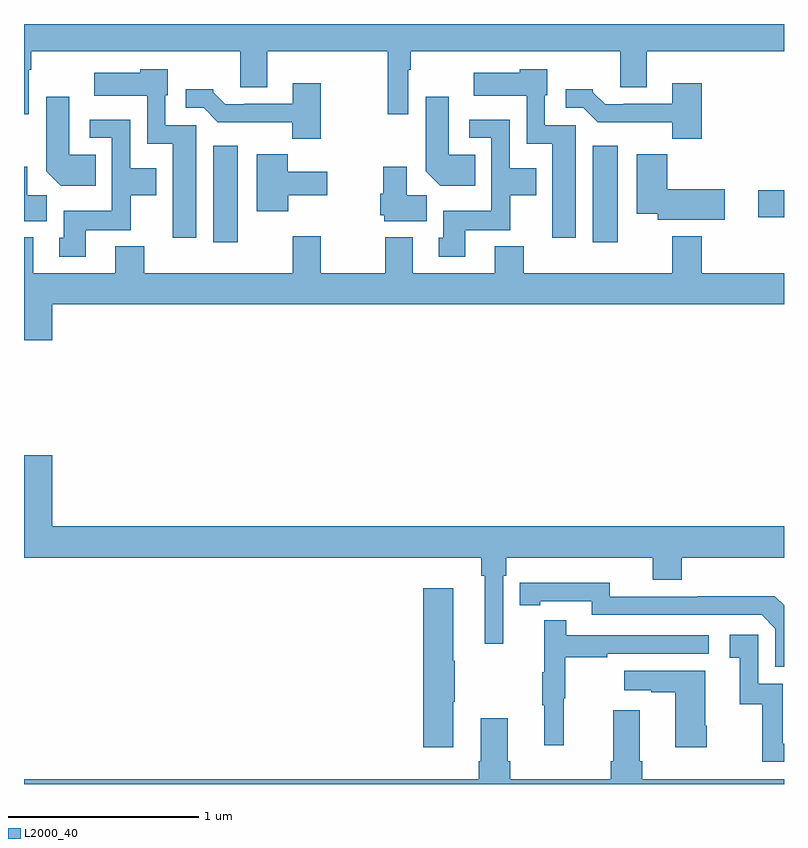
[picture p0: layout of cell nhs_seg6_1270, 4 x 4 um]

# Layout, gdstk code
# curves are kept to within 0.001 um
import gdstk
lib = gdstk.Library(unit=1e-6, precision=1e-09)
def R(c, l, rs):  # rectangles x0, y0, x1, y1
    for r in rs: c.add(gdstk.rectangle(r[:2], r[2:], *l))
def P(c, l, *ps):  # polygons
    for p in ps: c.add(gdstk.Polygon(p, *l))
L2000_40 = (2000, 40)

nhs_seg6_1270 = lib.new_cell('nhs_seg6_1270')
R(nhs_seg6_1270, L2000_40, [(189.995,926.352,190.126,926.86), (191.993,926.352,192.124,926.86), (192.864,926.482,193,926.624)])
P(nhs_seg6_1270, L2000_40, [(189.024,927.26),(189.037,927.26),(189.037,927.356),(190.139,927.356),(190.139,927.166),(190.279,927.166),(190.279,927.356),(190.914,927.356),(190.914,927.024),(191.022,927.024),(191.022,927.26),(191.035,927.26),(191.035,927.356),(192.137,927.356),(192.137,927.166),(192.277,927.166),(192.277,927.356),(193,927.356),(193,927.5),(189,927.5),(189,927.024),(189.024,927.024)],
  [(191.905,926.967),(191.742,926.967),(191.742,927.126),(191.755,927.126),(191.755,927.262),(191.61,927.262),(191.61,927.244),(191.367,927.244),(191.367,927.122),(191.646,927.122),(191.646,926.87),(191.78,926.87),(191.78,926.376),(191.905,926.376)],
  [(189.907,926.967),(189.744,926.967),(189.744,927.126),(189.757,927.126),(189.757,927.262),(189.612,927.262),(189.612,927.244),(189.369,927.244),(189.369,927.122),(189.648,927.122),(189.648,926.87),(189.782,926.87),(189.782,926.376),(189.907,926.376)],
  [(190.563,927.187),(190.415,927.187),(190.415,927.081),(190.159,927.081),(190.159,927.078),(190.06,927.078),(189.996,927.142),(189.996,927.157),(189.852,927.157),(189.852,927.06),(189.945,927.06),(190.021,926.984),(190.413,926.984),(190.413,926.897),(190.563,926.897)],
  [(192.566,927.187),(192.413,927.187),(192.413,927.081),(192.157,927.081),(192.157,927.078),(192.058,927.078),(191.994,927.142),(191.994,927.157),(191.85,927.157),(191.85,927.06),(191.943,927.06),(192.019,926.984),(192.411,926.984),(192.411,926.897),(192.566,926.897)],
  [(189.377,926.812),(189.238,926.812),(189.238,927.118),(189.116,927.118),(189.116,926.726),(189.194,926.648),(189.377,926.648)],
  [(191.375,926.812),(191.236,926.812),(191.236,927.118),(191.114,927.118),(191.114,926.726),(191.192,926.648),(191.375,926.648)],
  [(189.325,926.414),(189.561,926.414),(189.561,926.6),(189.697,926.6),(189.697,926.74),(189.558,926.74),(189.558,926.997),(189.345,926.997),(189.345,926.901),(189.462,926.901),(189.462,926.518),(189.209,926.518),(189.209,926.376),(189.185,926.376),(189.185,926.274),(189.325,926.274)],
  [(191.323,926.414),(191.559,926.414),(191.559,926.6),(191.695,926.6),(191.695,926.74),(191.556,926.74),(191.556,926.997),(191.343,926.997),(191.343,926.901),(191.46,926.901),(191.46,926.518),(191.207,926.518),(191.207,926.376),(191.183,926.376),(191.183,926.274),(191.323,926.274)],
  [(192.688,926.629),(192.386,926.629),(192.386,926.815),(192.224,926.815),(192.224,926.501),(192.335,926.501),(192.335,926.471),(192.688,926.471)],
  [(190.39,926.6),(190.597,926.6),(190.597,926.722),(190.388,926.722),(190.388,926.815),(190.226,926.815),(190.226,926.514),(190.39,926.514)],
  [(191.119,926.6),(191.014,926.6),(191.014,926.749),(190.892,926.749),(190.892,926.607),(190.874,926.607),(190.874,926.493),(190.896,926.493),(190.896,926.462),(191.119,926.462)],
  [(189.121,926.6),(189.016,926.6),(189.016,926.749),(189,926.749),(189,926.462),(189.121,926.462)],
  [(189.148,926.024),(193,926.024),(193,926.188),(192.566,926.188),(192.566,926.383),(192.413,926.383),(192.413,926.188),(191.63,926.188),(191.63,926.329),(191.477,926.329),(191.477,926.188),(191.047,926.188),(191.047,926.377),(190.9,926.377),(190.9,926.188),(190.563,926.188),(190.563,926.383),(190.415,926.383),(190.415,926.188),(189.632,926.188),(189.632,926.329),(189.479,926.329),(189.479,926.188),(189.049,926.188),(189.049,926.377),(189,926.377),(189,925.836),(189.148,925.836)],
  [(191.523,924.596),(191.537,924.596),(191.537,924.692),(192.308,924.692),(192.308,924.575),(192.461,924.575),(192.461,924.692),(193,924.692),(193,924.856),(189.148,924.856),(189.148,925.231),(189,925.231),(189,924.692),(191.407,924.692),(191.407,924.596),(191.426,924.596),(191.426,924.237),(191.523,924.237)],
  [(193,924.44),(192.952,924.488),(192.544,924.488),(192.544,924.486),(192.084,924.486),(192.084,924.559),(191.608,924.558),(191.608,924.442),(191.716,924.442),(191.716,924.462),(191.988,924.462),(191.988,924.39),(192.882,924.39),(192.954,924.318),(192.954,924.117),(193,924.117)],
  [(191.26,923.932),(191.268,923.932),(191.268,924.149),(191.26,924.149),(191.26,924.529),(191.102,924.529),(191.102,923.694),(191.26,923.694)],
  [(191.84,923.952),(191.848,923.952),(191.848,924.166),(192.071,924.166),(192.071,924.186),(192.604,924.186),(192.604,924.282),(191.855,924.282),(191.855,924.361),(191.738,924.361),(191.738,924.089),(191.727,924.089),(191.727,923.915),(191.738,923.915),(191.738,923.703),(191.84,923.703)],
  [(193,923.712),(192.993,923.712),(192.993,924.027),(192.864,924.027),(192.864,924.286),(192.714,924.286),(192.714,924.165),(192.767,924.165),(192.767,923.919),(192.885,923.919),(192.885,923.616),(193,923.616)],
  [(192.594,923.806),(192.586,923.806),(192.586,924.097),(192.159,924.097),(192.159,923.993),(192.302,923.993),(192.302,923.983),(192.428,923.983),(192.428,923.694),(192.594,923.694)],
  [(192.241,923.62),(192.241,923.887),(192.101,923.887),(192.101,923.62),(192.089,923.62),(192.089,923.524),(191.558,923.524),(191.558,923.62),(191.545,923.62),(191.545,923.845),(191.405,923.845),(191.405,923.62),(191.393,923.62),(191.393,923.524),(189,923.524),(189,923.5),(193,923.5),(193,923.524),(192.254,923.524),(192.254,923.62)])

lib.write_gds('nhs_seg6_1270.gds')
